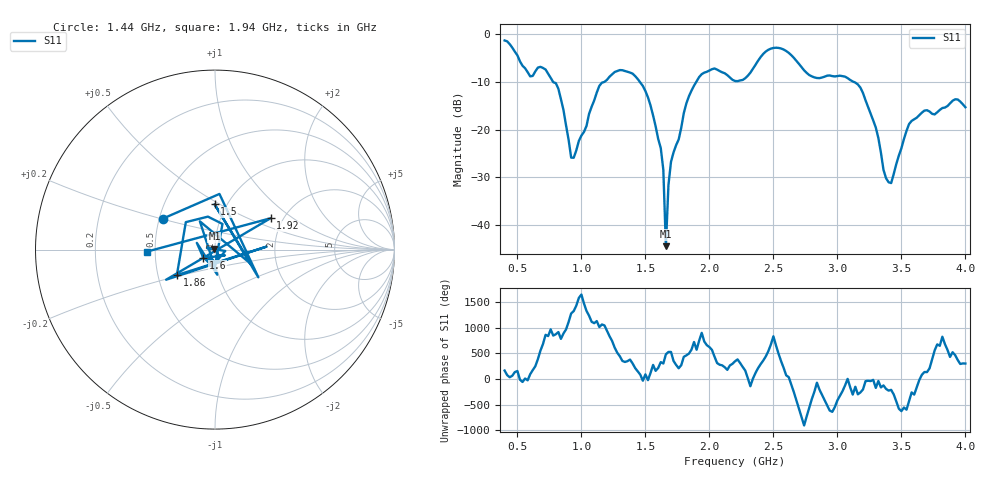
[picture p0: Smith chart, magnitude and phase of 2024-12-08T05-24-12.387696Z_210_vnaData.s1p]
!Created with skrf (http://scikit-rf.org).
# Hz S RI R 50.0
!freq ReS11 ImS11
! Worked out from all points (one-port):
!   181 points, 400 MHz to 4 GHz, reference 50 ohm
!   lowest |S11| = -44.5 dB at 1.66 GHz (marker M1), VSWR 1.01, Z = 49.7 + j0.5 ohm
!   |S11| at or under -10 dB: 778.6 MHz to 1.18 GHz (401.7 MHz wide, 41 % of centre); 1.456 GHz to 1.898 GHz (441.6 MHz wide, 26.3 % of centre); 3.127 GHz to end of sweep
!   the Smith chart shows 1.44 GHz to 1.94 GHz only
!   S11 on the Smith chart (normalised r, x): 1.44 GHz: 0.52, +0.20; 1.5 GHz: 0.87, +0.47; 1.6 GHz: 0.88, -0.08; 1.86 GHz: 0.63, -0.19; 1.92 GHz: 1.72, +0.69; 1.94 GHz: 0.45, -0.01
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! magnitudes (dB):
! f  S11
! 400 MHz  -1.3
! 600 MHz  -8.9
! 720 MHz  -7.4
! 860 MHz  -15.9
! 920 MHz  -25.9
! 940 MHz  -25.9
! 1.14 GHz  -10.8
! 1.3 GHz  -7.5
! 1.44 GHz  -9.4
! 1.5 GHz  -11.9
! 1.6 GHz  -22.0
! 1.64 GHz  -28.4
! 1.66 GHz  -44.5
! 1.68 GHz  -31.6
! 1.7 GHz  -26.8
! 1.76 GHz  -22.1
! 1.86 GHz  -11.8
! 1.92 GHz  -9.0
! 1.94 GHz  -8.4
! 2.2 GHz  -9.8
! 2.48 GHz  -3.0
! 2.66 GHz  -5.0
! 2.82 GHz  -9.1
! 3.1 GHz  -9.6
! 3.2 GHz  -12.4
! 3.4 GHz  -31.1
! 3.56 GHz  -18.8
! 4 GHz  -15.3
